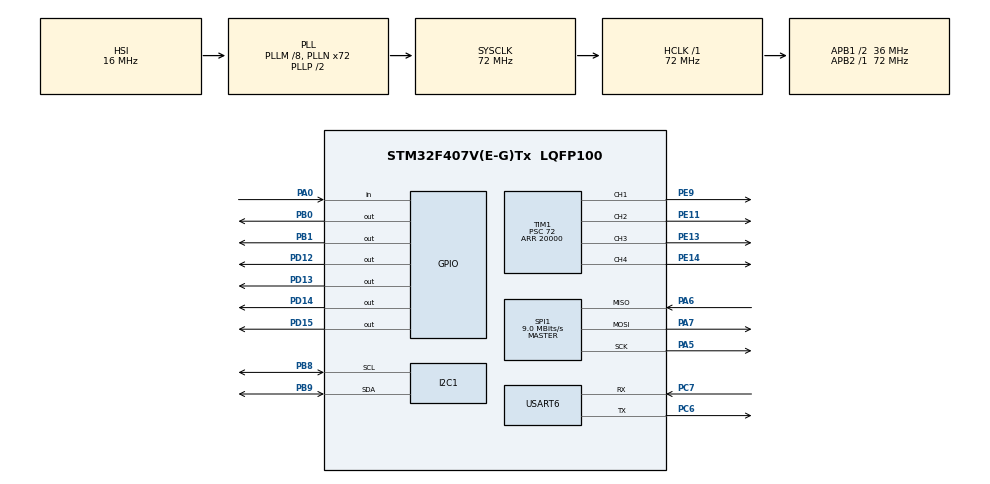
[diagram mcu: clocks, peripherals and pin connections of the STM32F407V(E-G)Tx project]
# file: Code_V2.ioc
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I2C1.I2C_Mode=I2C_Fast
Mcu.Family=STM32F4
Mcu.Name=STM32F407V(E-G)Tx
Mcu.Package=LQFP100
NVIC.PriorityGroup=NVIC_PRIORITYGROUP_4
NVIC.TIM2_IRQn=true\:0\:0\:false\:false\:true\:true\:true\:true
PA0-WKUP.Signal=GPIO_Input
PA13.Mode=Serial_Wire
PA13.Signal=SYS_JTMS-SWDIO
PA14.Mode=Serial_Wire
PA14.Signal=SYS_JTCK-SWCLK
PA5.Mode=Full_Duplex_Master
PA5.Signal=SPI1_SCK
PA6.Mode=Full_Duplex_Master
PA6.Signal=SPI1_MISO
PA7.Mode=Full_Duplex_Master
PA7.Signal=SPI1_MOSI
PB0.Signal=GPIO_Output
PB1.Signal=GPIO_Output
PB8.Mode=I2C
PB8.Signal=I2C1_SCL
PB9.Mode=I2C
PB9.Signal=I2C1_SDA
PC6.Mode=Asynchronous
PC6.Signal=USART6_TX
PC7.Mode=Asynchronous
PC7.Signal=USART6_RX
PD12.Signal=GPIO_Output
PD13.Signal=GPIO_Output
PD14.Signal=GPIO_Output
PD15.Signal=GPIO_Output
PE11.Signal=S_TIM1_CH2
PE13.Signal=S_TIM1_CH3
PE14.Signal=S_TIM1_CH4
PE9.Signal=S_TIM1_CH1
PH0-OSC_IN.Mode=HSE-External-Oscillator
PH0-OSC_IN.Signal=RCC_OSC_IN
PH1-OSC_OUT.Mode=HSE-External-Oscillator
PH1-OSC_OUT.Signal=RCC_OSC_OUT
ProjectManager.HeapSize=0x200
ProjectManager.StackSize=0x400
ProjectManager.TargetToolchain=STM32CubeIDE
RCC.48MHZClocksFreq_Value=36000000
RCC.AHBFreq_Value=72000000
RCC.APB1CLKDivider=RCC_HCLK_DIV2
RCC.APB1Freq_Value=36000000
RCC.APB1TimFreq_Value=72000000
RCC.APB2Freq_Value=72000000
RCC.APB2TimFreq_Value=72000000
RCC.CortexFreq_Value=72000000
RCC.HCLKFreq_Value=72000000
RCC.HSE_VALUE=25000000
RCC.HSI_VALUE=16000000
RCC.LSE_VALUE=32768
RCC.PLLM=8
RCC.PLLN=72
RCC.SYSCLKFreq_VALUE=72000000
RCC.SYSCLKSource=RCC_SYSCLKSOURCE_PLLCLK
RCC.VCOOutputFreq_Value=144000000
SH.S_TIM1_CH1.0=TIM1_CH1,PWM Generation1 CH1
SH.S_TIM1_CH2.0=TIM1_CH2,PWM Generation2 CH2
SH.S_TIM1_CH3.0=TIM1_CH3,PWM Generation3 CH3
SH.S_TIM1_CH4.0=TIM1_CH4,PWM Generation4 CH4
SPI1.BaudRatePrescaler=SPI_BAUDRATEPRESCALER_8
SPI1.CalculateBaudRate=9.0 MBits/s
SPI1.Direction=SPI_DIRECTION_2LINES
SPI1.Mode=SPI_MODE_MASTER
SPI1.VirtualType=VM_MASTER
TIM1.AutoReloadPreload=TIM_AUTORELOAD_PRELOAD_ENABLE
TIM1.Channel-PWM\ Generation1\ CH1=TIM_CHANNEL_1
TIM1.Channel-PWM\ Generation2\ CH2=TIM_CHANNEL_2
TIM1.Channel-PWM\ Generation3\ CH3=TIM_CHANNEL_3
TIM1.Channel-PWM\ Generation4\ CH4=TIM_CHANNEL_4
TIM1.Period=20000
TIM1.Prescaler=72
TIM1.Pulse-PWM\ Generation1\ CH1=800
TIM1.Pulse-PWM\ Generation2\ CH2=800
TIM1.Pulse-PWM\ Generation3\ CH3=800
TIM1.Pulse-PWM\ Generation4\ CH4=800
TIM2.AutoReloadPreload=TIM_AUTORELOAD_PRELOAD_ENABLE
TIM2.Period=72000000
USART6.VirtualMode=VM_ASYNC
VP_TIM1_VS_ClockSourceINT.Mode=Internal
VP_TIM2_VS_ClockSourceINT.Mode=Internal
board=custom

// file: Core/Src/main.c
/* USER CODE BEGIN Header */
/**
 ******************************************************************************
 * @file           : main.c
 * @brief          : Main program body
 ******************************************************************************
 * @attention
 *
 * Copyright (c) 2023 STMicroelectronics.
 * All rights reserved.
 *
 * This software is licensed under terms that can be found in the LICENSE file
 * in the root directory of this software component.
 * If no LICENSE file comes with this software, it is provided AS-IS.
 *
 ******************************************************************************
 */
/* USER CODE END Header */
#include "main.h"
#include "i2c.h"
#include "spi.h"
#include "tim.h"
#include "usart.h"
#include "gpio.h"

/* USER CODE BEGIN Includes */
#include "define.h"
#include "TD_GY86.h"
#include "TD_Madgwick.h"
#include "TD_Brushless.h"
#include "TD_LQR.h"
#include "TD_RF24L01.h"
#include "TD_Lowpass.h"
#include <stdio.h>
/* USER CODE END Includes */

/* USER CODE BEGIN PTD */
typedef struct{
	double x;
	double y;
	double z;
}Vector_t;
/* USER CODE END PTD */

/* USER CODE BEGIN PD */
#define nrf_CSN_PORT GPIOB
#define nrf_CSN_PIN GPIO_PIN_0

#define nrf_CE_PORT GPIOB
#define nrf_CE_PIN GPIO_PIN_1
/* USER CODE END PD */

/* USER CODE BEGIN PV */

int enable = 0;
// Sensor
MPU6050_t MPU6050;
MPU6050_t MPU6050_LP;
MS5611_t MS5611;
// Lowpass
Lowpass_t LP_height = {0};
// Height
double height;
double SetPoint_height = 0;
double Offset_height = 0;
// Quaternions
Quaternion_t Q_est = {1, 0, 0, 0};
// Brushless
Motor_t M1 = {
    .Duty = 0,
    .Duty_base = 979,
    .Duty_min = 800,
    .Duty_max = 1400,
};
Motor_t M2 = {
    .Duty = 0,
    .Duty_base = 955,
    .Duty_min = 800,
    .Duty_max = 1400,
};
Motor_t M3 = {
    .Duty = 0,
    .Duty_base = 955,
    .Duty_min = 800,
    .Duty_max = 1400,
};
Motor_t M4 = {
    .Duty = 0,
    .Duty_base = 955,
    .Duty_min = 800,
    .Duty_max = 1400,
};

// Angle
Euler_t angle = {
    .roll = 0,
    .pitch = 0,
    .yaw = 0,
};
Euler_t Madgwick = {
    .roll = 0,
    .pitch = 0,
    .yaw = 0,
};
Euler_t Setpoint = {
    .roll = 0,
    .pitch = 0,
    .yaw = 0,
};
Euler_t Setpoint_dot = {
    .roll = 0,
    .pitch = 0,
    .yaw = 0,
};
Euler_t Offset = {
    .roll = 1.5,
    .pitch = 0,
    .yaw = 0,
};
Vector_t Setpoint_xyz;
Data_t data_Tx;
Data_t data_Rx;
uint64_t TxpipeAddrs = 0xAABBCCDDEE;
uint64_t RxpipeAddrs = 0x1122334455;
char TxData[32] = "";
char RxData[32] = "";
uint64_t value;
const float a = 0.0316;
const float b = 1.321;
double x[6];
double K[4][6] = {{0, 0, 0, 0, 0, 0}, {a, 0, 0, b, 0, 0}, {0, a, 0, 0, b, 0}, {0, 0, a, 0, 0, b}};
double u[4];
double T1, T2, T3, T4;
double T_base = 1.7 * 9.81 / 4;
char q[9] = "";
char w[9] = "";
char e[9] = "";
/* USER CODE END PV */

void SystemClock_Config(void);
/* USER CODE BEGIN PFP */
void floatToString(float num, char *target);
/* USER CODE END PFP */

int main(void)
{

    /* MCU Configuration--------------------------------------------------------*/

    /* Reset of all peripherals, Initializes the Flash interface and the Systick. */
    HAL_Init();

    /* Configure the system clock */
    SystemClock_Config();

    /* Initialize all configured peripherals */
    MX_GPIO_Init();
    MX_I2C1_Init();
    MX_SPI1_Init();
    MX_TIM1_Init();
    MX_TIM2_Init();
    MX_USART6_UART_Init();
    /* USER CODE BEGIN 2 */
    /**
     * Sends data using the NRF24L01+ module and UART.
     *
     * @param q The data to be transmitted via UART.
     * @param w An empty character array.
     * @param e An empty character array.
     * @param huart6 The UART handle.
     * @param GPIOB The GPIO port used for the NRF24L01+ module.
     * @param nrf_CSN_PIN The chip select pin for the NRF24L01+ module.
     * @param nrf_CE_PIN The chip enable pin for the NRF24L01+ module.
     * @param hspi1 The SPI handle.
     * @param TxpipeAddrs The address of the transmitting pipe.
     *
     * @returns None
     */
    // Begin setup Rf24
    NRF24_begin(GPIOB, nrf_CSN_PIN, nrf_CE_PIN, hspi1);
    NRF24_stopListening();
    NRF24_openWritingPipe(TxpipeAddrs);
    NRF24_setAutoAck(true);
    NRF24_enableDynamicPayloads();
    NRF24_enableAckPayload();
    /**
     * Initializes the MPU6050 and HMC5883L sensors, and the MS5611 barometer.
     *
     * @param hi2c1 The I2C handle for communication with the sensors.
     *
     * @returns None
     */
    // Begin setup GY86
    while (MPU6050_Init(&hi2c1) == 1);
    MPU6050_Bypass(&hi2c1);
    HMC5883L_Init(&hi2c1);
    MPU6050_Master(&hi2c1);
    MPU6050_Addslave(&hi2c1);
    MS5611_init(&hi2c1, &MS5611);
    /**
     * Sets up the ESC (Electronic Speed Controller) for a motor using the specified timer.
     *
     * @param htim1 The timer used for the ESC.
     *
     * @returns None
     */
    //	 Begin setup ESC
    setupESC(&htim1);
    /**
     * Starts the timer interrupt for TIM2.
     *
     * @param htim2 A pointer to the TIM2 handle.
     *
     * @returns None
     */
    //	 RUN
    HAL_TIM_Base_Start_IT(&htim2);
    /* USER CODE END 2 */

    /* Infinite loop */
    /* USER CODE BEGIN WHILE */
    while (1)
    {
        /**
         * Sends sensor data over NRF24L01 radio module.
         * The data is sent every 20ms and the enable flag is set to 1.
         * If the enable flag is set to 0, the data is not sent.
         * If there is a response from the receiver, the enable flag is set to 1 if the response is '1' and 0 if the response is '0'.
         * If there is no response from the receiver for 1 second, the enable flag is set to 0.
         */
        if (HAL_GetTick() - value >= 20)
        {
            //Pack Data_Tx
            data_Tx.a = Madgwick.roll;
            data_Tx.b = Madgwick.pitch;
            data_Tx.c = Madgwick.yaw;
            data_Tx.d = enable;
            if (NRF24_write(&data_Tx, 32))
            {
            	HAL_GPIO_TogglePin(GPIOD,GPIO_PIN_13);
                // Receive
                NRF24_read(&data_Rx, 32);
                Setpoint_xyz.x = data_Rx.a;
                Setpoint_xyz.y = data_Rx.b;
               	Setpoint_xyz.z = data_Rx.c;
				enable		   = data_Rx.d;
				value = HAL_GetTick();
            }
        }
        if (HAL_GetTick() - value > 1000)
            enable = 0;
        /* USER CODE END WHILE */

    }
}

void SystemClock_Config(void)
{
    RCC_OscInitTypeDef RCC_OscInitStruct = {0};
    RCC_ClkInitTypeDef RCC_ClkInitStruct = {0};

    /** Configure the main internal regulator output voltage
     */
    __HAL_RCC_PWR_CLK_ENABLE();
    __HAL_PWR_VOLTAGESCALING_CONFIG(PWR_REGULATOR_VOLTAGE_SCALE1);

    /** Initializes the RCC Oscillators according to the specified parameters
     * in the RCC_OscInitTypeDef structure.
     */
    RCC_OscInitStruct.OscillatorType = RCC_OSCILLATORTYPE_HSI;
    RCC_OscInitStruct.HSIState = RCC_HSI_ON;
    RCC_OscInitStruct.HSICalibrationValue = RCC_HSICALIBRATION_DEFAULT;
    RCC_OscInitStruct.PLL.PLLState = RCC_PLL_ON;
    RCC_OscInitStruct.PLL.PLLSource = RCC_PLLSOURCE_HSI;
    RCC_OscInitStruct.PLL.PLLM = 8;
    RCC_OscInitStruct.PLL.PLLN = 72;
    RCC_OscInitStruct.PLL.PLLP = RCC_PLLP_DIV2;
    RCC_OscInitStruct.PLL.PLLQ = 4;
    if (HAL_RCC_OscConfig(&RCC_OscInitStruct) != HAL_OK)
    {
        Error_Handler();
    }

    /** Initializes the CPU, AHB and APB buses clocks
     */
    RCC_ClkInitStruct.ClockType = RCC_CLOCKTYPE_HCLK | RCC_CLOCKTYPE_SYSCLK | RCC_CLOCKTYPE_PCLK1 | RCC_CLOCKTYPE_PCLK2;
    RCC_ClkInitStruct.SYSCLKSource = RCC_SYSCLKSOURCE_PLLCLK;
    RCC_ClkInitStruct.AHBCLKDivider = RCC_SYSCLK_DIV1;
    RCC_ClkInitStruct.APB1CLKDivider = RCC_HCLK_DIV2;
    RCC_ClkInitStruct.APB2CLKDivider = RCC_HCLK_DIV1;

    if (HAL_RCC_ClockConfig(&RCC_ClkInitStruct, FLASH_LATENCY_2) != HAL_OK)
    {
        Error_Handler();
    }
}

/* USER CODE BEGIN 4 */
// Hàm chuyển float sang string
void floatToString(float num, char *target)
{
    int intPart = (int)num;                              // phần nguyên của số float
    float fracPart = num - intPart;                      // phần thập phân của số float
    char intStr[5];                                      // chuỗi chứa phần nguyên
    char fracStr[5];                                     // chuỗi chứa phần thập phân
    sprintf(intStr, "%d", intPart);                      // gọi hàm chuyển phần nguyên sang string
    sprintf(fracStr, "%d", (int16_t)(fracPart * 10000)); // gọi hàm chuyển phần thập phân sang string với độ chính xác là 6 chữ số sau dấu phẩy
    sprintf(target, "%s.%s", intStr, fracStr);           // nối hai chuỗi lại với nhau và thêm dấu chấm vào giữa
}

void HAL_TIM_PeriodElapsedCallback(TIM_HandleTypeDef *htim)
{
    if (htim->Instance == htim2.Instance)
    {
        /**
         * Reads data from the MPU6050 and MS5611 sensors, applies low-pass filtering and calculates the orientation and altitude.
         */
        // Read Data
        HAL_GPIO_TogglePin(GPIOD, GPIO_PIN_12);
        MPU6050_Read_All(&hi2c1, &MPU6050);
        MS5611_calculate(&hi2c1, &MS5611);
        // Filter
        Lowpass4MPU(MPU6050, &MPU6050_LP);
        Lowpass(MS5611.P, &LP_height, 0.5);
        MPU2Angle(MPU6050_LP, &angle);
        Madgwick_update(&MPU6050_LP, &Q_est);
        // Caculator
        Quat2Angle(Q_est, &Madgwick);
        OffsetAngle(&Madgwick, Offset);
        height = getAltitude(LP_height.out, 101325);
        /**
         * Computes the control signals for a quadcopter based on the difference between the setpoint and the current orientation.
         * The control signals are then used to adjust the duty cycle of the motors to achieve the desired orientation.
         */
        // r()
        x[0] = Setpoint.roll - Madgwick.roll;
        x[1] = Setpoint.pitch - Madgwick.pitch;
        x[2] = Setpoint.yaw - Madgwick.yaw;
        x[3] = Setpoint_dot.roll - MPU6050.Gx;
        x[4] = Setpoint_dot.pitch - MPU6050.Gy;
        x[5] = Setpoint_dot.yaw - MPU6050.Gz;
        //
        //		x[0] = 0;
        //		x[1] = 0;
        x[2] = 0;
        //		x[3] = 0;
        //		x[4] = 0;
        x[5] = 0;

        // LQR
        compute_control(x, K, u);
        // Limit
        if (u[0] > 8.7969)
            u[0] = 8.7969;
        if (u[0] < -16.677)
            u[0] = -16.677;
        if (u[1] > 11.5)
            u[1] = 11.5;
        if (u[1] < -11.5)
            u[1] = -11.5;
        if (u[2] > 11.5)
            u[2] = 11.5;
        if (u[2] < -11.5)
            u[2] = -11.5;
        if (u[3] > 11.5)
            u[3] = 11.5;
        if (u[3] < -11.5)
            u[3] = -11.5;
        u[1] = u[1] * 0.3;
        u[2] = u[2] * 0.3;
        u[3] = u[3] * 0.1;

        // U -> T
        T1 = T_base + u[0] * 0.25 + u[3] * 0.25 - u[2] * 0.5; // T = Khối lượng/4 + độ cao + yaw - pitch;
        T2 = T_base + u[0] * 0.25 - u[3] * 0.25 + u[1] * 0.5; // T = Khối lượng/4 + độ cao - yaw + sin;
        T3 = T_base + u[0] * 0.25 - u[3] * 0.25 + u[2] * 0.5; // T = Khối lượng/4 + độ cao - yaw + pitch;
        T4 = T_base + u[0] * 0.25 - u[3] * 0.25 - u[1] * 0.5; // T = Khối lượng/4 + độ cao - yaw - sin;

        // T -> Duty
        M1.Duty = T1 / 11.5 * 1000;
        M2.Duty = T2 / 11.5 * 1000;
        M3.Duty = T3 / 11.5 * 1000;
        M4.Duty = T4 / 11.5 * 1000;

        // Enable output PID
        if (enable)
        {
            ESC_Control(&htim1, M1.Duty + M1.Duty_base, M2.Duty + M2.Duty_base, M3.Duty + M3.Duty_base, M4.Duty + M4.Duty_base); // Duty + Duty_base
        }
        else
        {
            ESC_Control(&htim1, M1.Duty_min, M2.Duty_min, M3.Duty_min, M4.Duty_min); // Duty_min
        }
    }
}
/* USER CODE END 4 */

void Error_Handler(void)
{
    __disable_irq();
    while (1)
    {
    }
}
